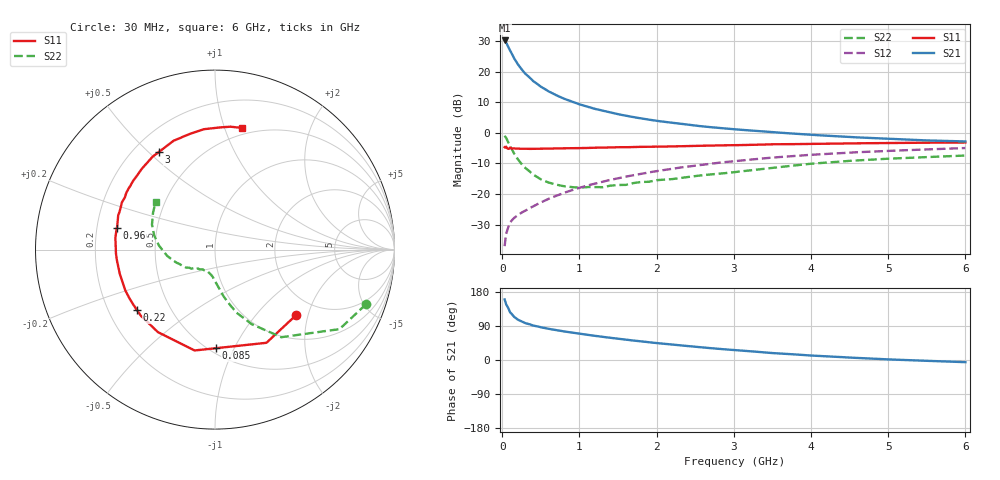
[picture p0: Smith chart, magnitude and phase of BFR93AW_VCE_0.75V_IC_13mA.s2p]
! Infineon Technologies  Discrete & RF Semiconductors
! BFR93AW
! VCE = 0.75 V,  IC =  13 mA
! Common Emitter S-Parameters:  Nov 2015
# GHz  S  MA  R  50
!  f  S11  S21  S12  S22
! GHz  MAG  ANG  MAG  ANG  MAG  ANG  MAG  ANG
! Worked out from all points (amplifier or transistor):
!   206 points, 30 MHz to 6 GHz, reference 50 ohm
!   highest |S21| = 30.1 dB at 30 MHz (marker M1)
!   |S21| within 3 dB of that: start of sweep to 95.22 MHz
!   unconditionally stable (mu >= 1): 589.7 MHz to 2.763 GHz
!   at 200 MHz: K = 0.60, MSG = 24.7 dB, |S12| = -26.9 dB
!   at 1.56 GHz: K = 1.08, MAG = 8.4 dB, |S12| = -14.5 dB
!   at 6 GHz: K = 0.98, MSG = 1.1 dB, |S12| = -5.0 dB
!   S11 on the Smith chart (normalised r, x): 30 MHz: 1.53, -1.69; 85 MHz: 0.54, -0.85; 220 MHz: 0.32, -0.31; 960 MHz: 0.29, +0.10; 3 GHz: 0.30, +0.54; 6 GHz: 0.44, +1.15
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0.03  0.5811 -38.8  32.12 159.8  0.0141 72.9  0.8949 -19.9
0.05  0.5931 -61.1  29.72 146.8  0.0224 65.6  0.8231 -32.6
0.085  0.5492 -89.3  24.07 133.6  0.0306 56.7  0.6656 -45.5
0.1  0.5733 -101.4  22.18 126.0  0.0343 54.2  0.6121 -52.9
0.15  0.5591 -124.7  16.66 114.1  0.0405 50.2  0.4629 -63.8
0.2  0.5535 -138.3  13.21 106.6  0.045 49.7  0.3717 -71.1
0.22  0.5497 -142.4  12.24 104.7  0.0469 50.3  0.3454 -72.8
0.26  0.5485 -149.9  10.49 100.6  0.0506 51.2  0.2983 -76.5
0.3  0.5491 -155.4  9.169 97.2  0.0537 52.1  0.2657 -79.5
0.4  0.5474 -165.5  6.982 91.0  0.063 55.6  0.2077 -85.0
0.5  0.5496 -172.7  5.65 86.2  0.073 57.8  0.1738 -90.4
0.6  0.5522 -177.7  4.738 82.3  0.0835 59.6  0.154 -94.3
0.7  0.5544 177.5  4.095 78.6  0.0938 60.8  0.1424 -98.7
0.96  0.5598 167.8  3.036 70.6  0.122 62.4  0.1281 -109.6
1.04  0.5622 165.2  2.814 68.2  0.1308 62.4  0.1283 -113.4
1.5  0.5816 153.1  2.008 56.1  0.1814 61.3  0.1405 -128.6
2.02  0.5953 140.4  1.555 44.2  0.2389 57.6  0.1691 -141.3
3  0.627 120.1  1.143 26.2  0.3436 48.4  0.2273 -161.4
3.1  0.63 118.2  1.117 24.8  0.3533 47.2  0.2349 -163.9
4.1  0.6611 101.1  0.911 10.8  0.4443 35.8  0.3189 174.0
5.1  0.6813 87.6  0.788 0.9  0.5124 24.8  0.3817 156.5
6  0.6943 77.5  0.722 -5.7  0.5639 15.7  0.4251 141.1
